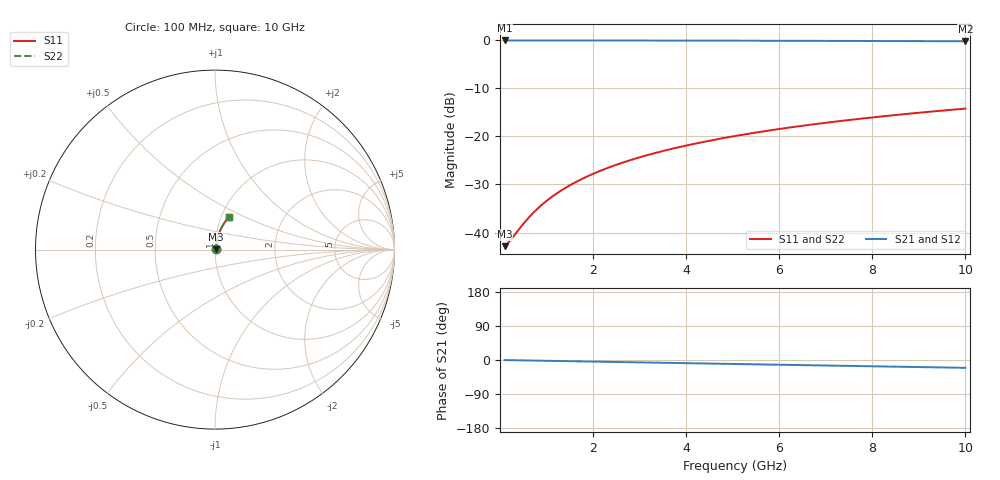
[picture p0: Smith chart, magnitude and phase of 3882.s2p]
# Hz S RI R 50.00
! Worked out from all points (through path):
!   100 points, 100 MHz to 10 GHz, reference 50 ohm
!   highest |S21| = -0.06 dB at 100 MHz (marker M1); lowest = -0.2 dB at 10 GHz (marker M2)
!   group delay of S21, straight-line fit = 5.74 ps
!   lowest |S11| = -42.8 dB at 100 MHz (marker M3), VSWR 1.01, Z = 50.7 + j0.201 ohm
!   |S11| at or under -10 dB: start of sweep to end of sweep
!   |S22| runs from -42.8 to -14.2 dB; largest |S21 - S12| = 0
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1e8  0.00694 0.00198  0.9931 -0.00362  0.9931 -0.00362  0.00694 0.00198
2e8  0.007 0.00397  0.993 -0.00724  0.993 -0.00724  0.007 0.00397
5e8  0.00724 0.00991  0.9927 -0.0181  0.9927 -0.0181  0.00724 0.00991
6e8  0.00734 0.0119  0.9926 -0.0217  0.9926 -0.0217  0.00734 0.0119
7e8  0.00745 0.0139  0.9925 -0.0253  0.9925 -0.0253  0.00745 0.0139
9e8  0.00771 0.0178  0.9922 -0.0326  0.9922 -0.0326  0.00771 0.0178
1.1e9  0.00803 0.0218  0.9918 -0.0398  0.9918 -0.0398  0.00803 0.0218
1.3e9  0.0084 0.0257  0.9914 -0.047  0.9914 -0.047  0.0084 0.0257
1.5e9  0.00883 0.0297  0.9908 -0.0542  0.9908 -0.0542  0.00883 0.0297
1.8e9  0.00957 0.0356  0.99 -0.0651  0.99 -0.0651  0.00957 0.0356
2.1e9  0.0104 0.0414  0.9889 -0.0758  0.9889 -0.0758  0.0104 0.0414
2.5e9  0.0118 0.0492  0.9873 -0.0902  0.9873 -0.0902  0.0118 0.0492
2.9e9  0.0134 0.057  0.9854 -0.1045  0.9854 -0.1045  0.0134 0.057
3.4e9  0.0157 0.0666  0.9827 -0.1223  0.9827 -0.1223  0.0157 0.0666
3.8e9  0.0177 0.0742  0.9803 -0.1365  0.9803 -0.1365  0.0177 0.0742
4.2e9  0.02 0.0817  0.9775 -0.1506  0.9775 -0.1506  0.02 0.0817
5.1e9  0.026 0.0984  0.9705 -0.182  0.9705 -0.182  0.026 0.0984
5.9e9  0.0321 0.1128  0.9631 -0.2096  0.9631 -0.2096  0.0321 0.1128
6.7e9  0.0391 0.1268  0.9548 -0.2367  0.9548 -0.2367  0.0391 0.1268
7.5e9  0.0468 0.1403  0.9455 -0.2634  0.9455 -0.2634  0.0468 0.1403
8.4e9  0.0563 0.1548  0.934 -0.2928  0.934 -0.2928  0.0563 0.1548
1e10  0.0754 0.179  0.9109 -0.3433  0.9109 -0.3433  0.0754 0.179
